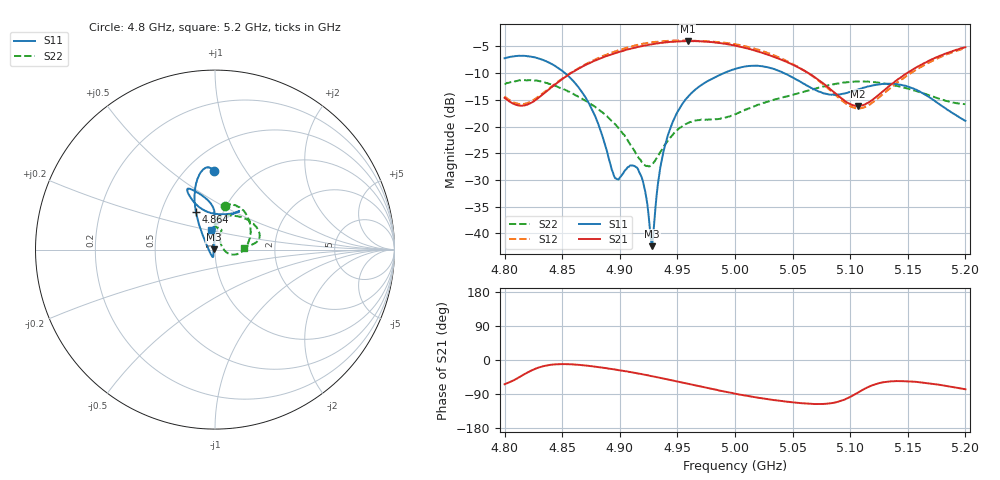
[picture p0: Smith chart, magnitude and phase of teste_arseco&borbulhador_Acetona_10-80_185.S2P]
! Network Analyzer HP8722D
! Hewlett-Packard
! Data name: Linha & Wilkinson
! Saver's name: Rodrigo Anjos
! Comments: Teste da utilização de aquisição
! continua pelo VNA HP8722D
! Time and date: 25/4/2025 16:48
!  Frequency  S11  S21  S12  S22
# HZ  S  MA R 50
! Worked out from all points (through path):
!   401 points, 4.8 GHz to 5.2 GHz, reference 50 ohm
!   highest |S21| = -3.97 dB at 4.959 GHz (marker M1); lowest = -16.2 dB at 5.107 GHz (marker M2)
!   lowest |S11| = -42.4 dB at 4.928 GHz (marker M3), VSWR 1.02, Z = 49.3 + j0.087 ohm
!   |S11| at or under -10 dB: 4.852 GHz to 4.99 GHz (137.7 MHz wide, 2.8 % of centre); 5.043 GHz to end of sweep
!   |S22| runs from -27.5 to -11.3 dB; largest |S21 - S12| = 1.2
!   S11 on the Smith chart (normalised r, x): 4.8 GHz: 0.67, +0.72; 4.864 GHz: 0.75, +0.33; 5.2 GHz: 0.94, +0.21
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4.8e9  0.4358 91.0  0.1857 -63.9  0.1912 69.5  0.2491 77.5
4.82e9  0.4548 97.3  0.1607 -32.7  0.1664 98.2  0.2716 62.0
4.843e9  0.3746 106.6  0.2441 -11.7  0.2475 118.9  0.2439 36.7
4.864e9  0.2343 116.9  0.3474 -12.7  0.3507 121.2  0.19 12.5
4.867e9  0.2112 118.5  0.3625 -13.7  0.3657 120.8  0.1833 8.9
4.88e9  0.1143 128.7  0.4211 -18.3  0.4312 118.4  0.1491 -4.8
4.896e9  0.03278 -169.4  0.487 -25.2  0.5058 113.3  0.105 -15.4
4.91e9  0.04315 -107.8  0.5373 -32.3  0.5615 107.3  0.06522 -13.2
4.917e9  0.03705 -104.4  0.56 -36.3  0.5877 103.7  0.04978 -1.2
4.922e9  0.02484 -110.0  0.5747 -39.1  0.6019 101.0  0.04322 15.7
4.926e9  0.01129 -137.6  0.5864 -41.7  0.612 98.6  0.04235 32.3
4.928e9  0.007573 173.3  0.5906 -42.8  0.6164 97.4  0.04416 39.9
4.934e9  0.03407 100.0  0.6026 -46.5  0.626 93.4  0.05499 56.8
4.944e9  0.09769 91.1  0.6212 -52.7  0.6344 87.1  0.07926 68.7
4.959e9  0.1894 89.9  0.6331 -62.7  0.6387 77.5  0.1078 70.9
5e9  0.3467 109.3  0.5732 -88.8  0.5923 50.9  0.1302 88.4
5.03e9  0.3551 115.4  0.465 -104.0  0.4822 34.0  0.1729 85.6
5.067e9  0.228 105.5  0.3015 -115.8  0.2985 23.6  0.2216 57.2
5.107e9  0.2229 64.7  0.1558 -85.6  0.1476 57.5  0.264 24.4
5.134e9  0.2518 57.8  0.2394 -56.6  0.2248 88.7  0.2484 12.5
5.169e9  0.1869 70.5  0.4168 -62.0  0.4003 85.1  0.1953 7.0
5.2e9  0.1133 100.8  0.5533 -77.2  0.5423 70.3  0.1619 3.8
